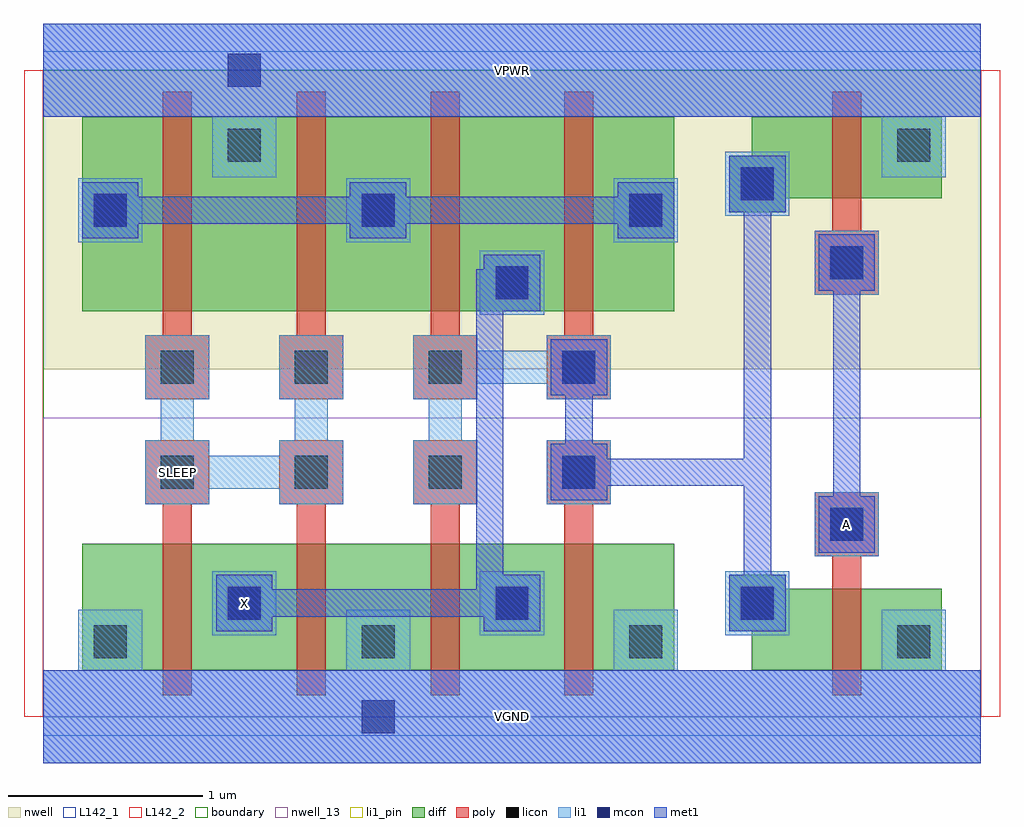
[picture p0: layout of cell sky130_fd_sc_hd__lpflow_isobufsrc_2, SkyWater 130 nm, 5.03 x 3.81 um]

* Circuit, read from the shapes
.subckt sky130_fd_sc_hd__lpflow_isobufsrc_2 A SLEEP VGND VPWR X
XM1 X SLEEP VGND VSUBS sky130_fd_pr__nfet_01v8 w=0.65 l=0.15 m=2
XM2 X n1 VGND VSUBS sky130_fd_pr__nfet_01v8 w=0.65 l=0.15 m=2
XM3 VGND A n1 VSUBS sky130_fd_pr__nfet_01v8 w=0.42 l=0.15
XM4 VPWR SLEEP n2 n3 sky130_fd_pr__pfet_01v8 w=1 l=0.15 m=2
XM5 X n1 n2 n3 sky130_fd_pr__pfet_01v8 w=1 l=0.15 m=2
XM6 VPWR A n1 n3 sky130_fd_pr__pfet_01v8 w=0.42 l=0.15
.ends

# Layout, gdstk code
import gdstk
lib = gdstk.Library(unit=1e-6, precision=1e-09)
def R(c, l, rs):  # rectangles x0, y0, x1, y1
    for r in rs: c.add(gdstk.rectangle(r[:2], r[2:], *l))
def A(c, l, x, y, w, h, nx, ny, dx, dy):  # array of equal rectangles
    R(c, l, [(x+i*dx, y+j*dy, x+i*dx+w, y+j*dy+h) for i in range(nx) for j in range(ny)])
def P(c, l, *ps):  # polygons
    for p in ps: c.add(gdstk.Polygon(p, *l))
nwell_13 = (64, 13)
nwell = (64, 20)
diff = (65, 20)
poly = (66, 20)
licon = (66, 44)
li1_pin = (67, 16)
li1 = (67, 20)
mcon = (67, 44)
met1 = (68, 20)
L142_1 = (142, 1)
L142_2 = (142, 2)
boundary = (235, 4)

sky130_fd_sc_hd__lpflow_ = lib.new_cell('sky130_fd_sc_hd__lpflow_isobufsrc_2')
R(sky130_fd_sc_hd__lpflow_, nwell_13, [(0,0,4.83,1.54)])
R(sky130_fd_sc_hd__lpflow_, nwell, [(0,1.79,4.83,3.33)])
A(sky130_fd_sc_hd__lpflow_, diff, 0.615, 0.24, 0.69, 0.65, 3, 1, 0.69, 0)
A(sky130_fd_sc_hd__lpflow_, diff, 0.615, 2.09, 0.69, 1, 3, 1, 0.69, 0)
R(sky130_fd_sc_hd__lpflow_, diff, [(0.2,0.24,3.25,0.89), (0.2,0.24,0.615,0.89), (2.685,0.24,3.25,0.89), (3.65,0.24,4.63,0.66), (4.065,0.24,4.63,0.66), (0.2,2.09,3.25,3.09), (0.2,2.09,0.615,3.09), (2.685,2.09,3.25,3.09), (3.65,2.67,4.63,3.09), (4.065,2.67,4.63,3.09)])
P(sky130_fd_sc_hd__lpflow_, diff, [(3.65,0.24),(3.65,0.44),(3.535,0.44),(3.535,0.73),(3.825,0.73),(3.825,0.66),(4.065,0.66),(4.065,0.24)],
  [(3.535,2.6),(3.535,2.89),(3.65,2.89),(3.65,3.09),(4.065,3.09),(4.065,2.67),(3.825,2.67),(3.825,2.6)])
P(sky130_fd_sc_hd__lpflow_, poly, [(0.615,0.11),(0.615,1.095),(0.525,1.095),(0.525,1.425),(0.855,1.425),(0.855,1.095),(0.765,1.095),(0.765,0.11)],
  [(1.305,0.11),(1.305,1.095),(1.215,1.095),(1.215,1.425),(1.545,1.425),(1.545,1.095),(1.455,1.095),(1.455,0.11)],
  [(0.525,1.635),(0.525,1.965),(0.615,1.965),(0.615,3.22),(0.765,3.22),(0.765,1.965),(0.855,1.965),(0.855,1.635)],
  [(1.215,1.635),(1.215,1.965),(1.305,1.965),(1.305,3.22),(1.455,3.22),(1.455,1.965),(1.545,1.965),(1.545,1.635)],
  [(4.065,0.11),(4.065,0.825),(3.975,0.825),(3.975,1.155),(4.305,1.155),(4.305,0.825),(4.215,0.825),(4.215,0.11)],
  [(3.975,2.175),(3.975,2.505),(4.065,2.505),(4.065,3.22),(4.215,3.22),(4.215,2.505),(4.305,2.505),(4.305,2.175)],
  [(1.995,0.11),(1.995,1.095),(1.905,1.095),(1.905,1.425),(2.235,1.425),(2.235,1.095),(2.145,1.095),(2.145,0.11)],
  [(2.685,0.11),(2.685,1.095),(2.595,1.095),(2.595,1.425),(2.925,1.425),(2.925,1.095),(2.835,1.095),(2.835,0.11)],
  [(1.905,1.635),(1.905,1.965),(1.995,1.965),(1.995,3.22),(2.145,3.22),(2.145,1.965),(2.235,1.965),(2.235,1.635)],
  [(2.595,1.635),(2.595,1.965),(2.685,1.965),(2.685,3.22),(2.835,3.22),(2.835,1.965),(2.925,1.965),(2.925,1.635)])
A(sky130_fd_sc_hd__lpflow_, licon, 0.26, 0.3, 0.17, 0.17, 4, 1, 1.38, 0)
A(sky130_fd_sc_hd__lpflow_, licon, 0.605, 1.175, 0.17, 0.17, 4, 2, 0.69, 0.54)
A(sky130_fd_sc_hd__lpflow_, licon, 0.26, 2.525, 0.17, 0.17, 3, 1, 1.38, 0)
R(sky130_fd_sc_hd__lpflow_, licon, [(0.95,0.5,1.12,0.67), (2.33,0.5,2.5,0.67), (3.595,0.5,3.765,0.67), (4.055,0.905,4.225,1.075), (2.33,2.15,2.5,2.32), (4.055,2.255,4.225,2.425), (3.595,2.66,3.765,2.83), (0.95,2.86,1.12,3.03), (4.4,2.86,4.57,3.03)])
R(sky130_fd_sc_hd__lpflow_, li1_pin, [(0,-0.24,4.83,0.24), (0.87,0.42,1.2,0.75), (3.975,0.825,4.305,1.155), (0,3.09,4.83,3.57)])
P(sky130_fd_sc_hd__lpflow_, li1_pin, [(0.525,1.095),(0.525,1.425),(0.605,1.425),(0.605,1.635),(0.525,1.635),(0.525,1.965),(0.855,1.965),(0.855,1.635),(0.775,1.635),(0.775,1.425),(0.855,1.425),(0.855,1.345),(1.215,1.345),(1.215,1.425),(1.295,1.425),(1.295,1.635),(1.215,1.635),(1.215,1.965),(1.545,1.965),(1.545,1.635),(1.465,1.635),(1.465,1.425),(1.545,1.425),(1.545,1.095),(1.215,1.095),(1.215,1.175),(0.855,1.175),(0.855,1.095)])
A(sky130_fd_sc_hd__lpflow_, li1, 0.18, 2.445, 0.33, 0.33, 3, 1, 1.38, 0)
R(sky130_fd_sc_hd__lpflow_, li1, [(0.87,0.42,1.2,0.75), (2.25,0.42,2.58,0.75), (3.515,0.42,3.845,0.75), (3.975,0.825,4.305,1.155), (2.595,1.095,2.925,1.425), (2.25,2.07,2.58,2.4), (3.975,2.175,4.305,2.505), (3.515,2.58,3.845,2.91)])
P(sky130_fd_sc_hd__lpflow_, li1, [(0.525,1.095),(0.525,1.425),(0.605,1.425),(0.605,1.635),(0.525,1.635),(0.525,1.965),(0.855,1.965),(0.855,1.635),(0.775,1.635),(0.775,1.425),(0.855,1.425),(0.855,1.345),(1.215,1.345),(1.215,1.425),(1.295,1.425),(1.295,1.635),(1.215,1.635),(1.215,1.965),(1.545,1.965),(1.545,1.635),(1.465,1.635),(1.465,1.425),(1.545,1.425),(1.545,1.095),(1.215,1.095),(1.215,1.175),(0.855,1.175),(0.855,1.095)],
  [(0.87,2.78),(0.87,3.09),(0,3.09),(0,3.57),(4.83,3.57),(4.83,3.09),(4.65,3.09),(4.65,2.78),(4.32,2.78),(4.32,3.09),(1.2,3.09),(1.2,2.78)],
  [(0,-0.24),(0,0.24),(0.18,0.24),(0.18,0.55),(0.51,0.55),(0.51,0.24),(1.56,0.24),(1.56,0.55),(1.89,0.55),(1.89,0.24),(2.94,0.24),(2.94,0.55),(3.27,0.55),(3.27,0.24),(4.32,0.24),(4.32,0.55),(4.65,0.55),(4.65,0.24),(4.83,0.24),(4.83,-0.24)],
  [(1.905,1.095),(1.905,1.425),(1.985,1.425),(1.985,1.635),(1.905,1.635),(1.905,1.965),(2.235,1.965),(2.235,1.885),(2.595,1.885),(2.595,1.965),(2.925,1.965),(2.925,1.635),(2.595,1.635),(2.595,1.715),(2.235,1.715),(2.235,1.635),(2.155,1.635),(2.155,1.425),(2.235,1.425),(2.235,1.095)])
A(sky130_fd_sc_hd__lpflow_, mcon, 0.26, 2.525, 0.17, 0.17, 3, 1, 1.38, 0)
R(sky130_fd_sc_hd__lpflow_, mcon, [(1.64,-0.085,1.81,0.085), (0.95,0.5,1.12,0.67), (2.33,0.5,2.5,0.67), (3.595,0.5,3.765,0.67), (4.055,0.905,4.225,1.075), (2.675,1.175,2.845,1.345), (2.675,1.715,2.845,1.885), (2.33,2.15,2.5,2.32), (4.055,2.255,4.225,2.425), (3.595,2.66,3.765,2.83), (0.95,3.245,1.12,3.415)])
R(sky130_fd_sc_hd__lpflow_, met1, [(0,-0.24,4.83,0.24), (0,3.09,4.83,3.57)])
P(sky130_fd_sc_hd__lpflow_, met1, [(0.2,2.465),(0.2,2.755),(0.49,2.755),(0.49,2.68),(1.58,2.68),(1.58,2.755),(1.87,2.755),(1.87,2.68),(2.96,2.68),(2.96,2.755),(3.25,2.755),(3.25,2.465),(2.96,2.465),(2.96,2.54),(1.87,2.54),(1.87,2.465),(1.58,2.465),(1.58,2.54),(0.49,2.54),(0.49,2.465)],
  [(3.995,0.845),(3.995,1.135),(4.07,1.135),(4.07,2.195),(3.995,2.195),(3.995,2.485),(4.285,2.485),(4.285,2.195),(4.21,2.195),(4.21,1.135),(4.285,1.135),(4.285,0.845)],
  [(3.535,0.44),(3.535,0.73),(3.61,0.73),(3.61,1.19),(2.905,1.19),(2.905,1.115),(2.615,1.115),(2.615,1.405),(2.69,1.405),(2.69,1.655),(2.615,1.655),(2.615,1.945),(2.905,1.945),(2.905,1.655),(2.83,1.655),(2.83,1.405),(2.905,1.405),(2.905,1.33),(3.61,1.33),(3.61,2.6),(3.535,2.6),(3.535,2.89),(3.825,2.89),(3.825,2.6),(3.75,2.6),(3.75,0.73),(3.825,0.73),(3.825,0.44)],
  [(0.89,0.44),(0.89,0.73),(1.18,0.73),(1.18,0.655),(2.23,0.655),(2.23,2.305),(2.27,2.305),(2.27,2.38),(2.56,2.38),(2.56,2.09),(2.37,2.09),(2.37,0.73),(2.56,0.73),(2.56,0.44),(2.27,0.44),(2.27,0.515),(1.18,0.515),(1.18,0.44)])
R(sky130_fd_sc_hd__lpflow_, L142_1, [(0,-0.1,4.83,0), (0,3.33,4.83,3.43)])
R(sky130_fd_sc_hd__lpflow_, L142_2, [(-0.1,0,0,3.33), (4.83,0,4.93,3.33)])
R(sky130_fd_sc_hd__lpflow_, boundary, [(0,0,4.83,3.33)])
sky130_fd_sc_hd__lpflow_.add(gdstk.Label('X', (1.035,0.585), layer=67, texttype=5))
sky130_fd_sc_hd__lpflow_.add(gdstk.Label('SLEEP', (0.69,1.26), layer=67, texttype=5))
sky130_fd_sc_hd__lpflow_.add(gdstk.Label('A', (4.14,0.99), layer=67, texttype=5))
sky130_fd_sc_hd__lpflow_.add(gdstk.Label('VGND', (2.415,0), layer=67, texttype=5))
sky130_fd_sc_hd__lpflow_.add(gdstk.Label('VPWR', (2.415,3.33), layer=67, texttype=5))
sky130_fd_sc_hd__lpflow_.add(gdstk.Label('VGND', (2.415,0), layer=68, texttype=5))
sky130_fd_sc_hd__lpflow_.add(gdstk.Label('VPWR', (2.415,3.33), layer=68, texttype=5))

lib.write_gds('sky130_fd_sc_hd__lpflow_isobufsrc_2.gds')
